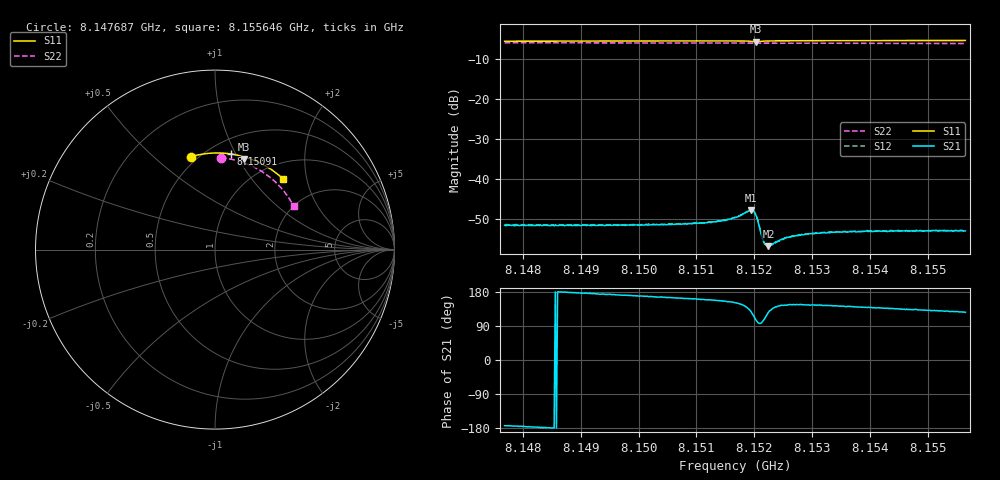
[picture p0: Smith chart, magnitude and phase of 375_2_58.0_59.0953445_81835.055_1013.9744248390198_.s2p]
#  HZ  S  RI  R  50.00
! Rohde & Schwarz Vector Network Analyzer
! Rohde-Schwarz,ZNB20-2Port,1311601062101988,3.16
! Created: UTC 3/21/2024, 1:07:05 AM
! freq[Hz]  re:S11  im:S11  re:S21  im:S21  re:S12  im:S12  re:S22  im:S22
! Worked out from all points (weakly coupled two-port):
!   401 points, 8.147687 GHz to 8.155646 GHz, reference 50 ohm
!   highest |S21| = -47.79 dB at 8.151945 GHz (marker M1); lowest = -56.8 dB at 8.152243 GHz (marker M2)
!   lowest |S11| = -5.5 dB at 8.152024 GHz (marker M3), VSWR 3.25, Z = 37.5 + j52.6 ohm
!   |S11| at or under -10 dB: nowhere
!   |S22| runs from -6.0 to -5.8 dB; largest |S21 - S12| = 0.00011
!   S11 on the Smith chart (normalised r, x): 8.147687 GHz: 0.46, +0.67; 8.15091 GHz: 0.64, +0.96; 8.155646 GHz: 1.29, +1.46
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8.1476867e9  -0.1325 0.5182  -0.00261 -0.000307  -0.00263 -0.000277  0.034 0.5114
8.1490198e9  -0.0412 0.5356  -0.00263 0.000158  -0.00263 0.000193  0.1195 0.4969
8.150353e9  0.0516 0.537  -0.00259 0.000636  -0.00262 0.000687  0.2005 0.4681
8.1509101e9  0.0903 0.5328  -0.00261 0.000876  -0.00263 0.000917  0.2323 0.4522
8.1513677e9  0.1223 0.5267  -0.00272 0.00116  -0.00271 0.00122  0.2576 0.4374
8.1516662e9  0.1438 0.5209  -0.00287 0.00157  -0.00291 0.00164  0.2735 0.427
8.1519447e9  0.1621 0.508  -0.00247 0.00325  -0.00243 0.00335  0.2879 0.4166
8.1519845e9  0.1621 0.5055  -0.00183 0.00352  -0.00176 0.00358  0.2899 0.415
8.1520243e9  0.161 0.5045  -0.000997 0.00342  -0.001 0.00349  0.2918 0.4135
8.1520641e9  0.1602 0.5058  -0.000422 0.00288  -0.000402 0.00294  0.2938 0.4121
8.1521238e9  0.1627 0.5089  -0.000281 0.00197  -0.000259 0.00199  0.2966 0.4102
8.1521636e9  0.1657 0.51  -0.000439 0.00157  -0.000431 0.00156  0.2987 0.4087
8.1522034e9  0.169 0.5107  -0.000652 0.00134  -0.000639 0.00136  0.3009 0.4071
8.1522432e9  0.1724 0.5108  -0.000841 0.00117  -0.000814 0.00122  0.3028 0.4056
8.152283e9  0.1756 0.5104  -0.000977 0.00111  -0.000975 0.00112  0.3048 0.404
8.1524223e9  0.1864 0.5083  -0.00131 0.00101  -0.00131 0.00103  0.3118 0.3985
8.1525616e9  0.1964 0.5054  -0.00152 0.00108  -0.00151 0.00108  0.3187 0.3928
8.1526809e9  0.2045 0.5025  -0.0016 0.00105  -0.00159 0.0011  0.3243 0.3879
8.1529993e9  0.2257 0.4942  -0.00171 0.00118  -0.00169 0.0012  0.3392 0.3741
8.1536957e9  0.2694 0.4731  -0.0017 0.00139  -0.00167 0.00143  0.3695 0.3425
8.1543324e9  0.3073 0.4507  -0.00158 0.00155  -0.00164 0.0016  0.3947 0.3115
8.1556456e9  0.3786 0.395  -0.0013 0.00182  -0.00134 0.00182  0.4382 0.2421
